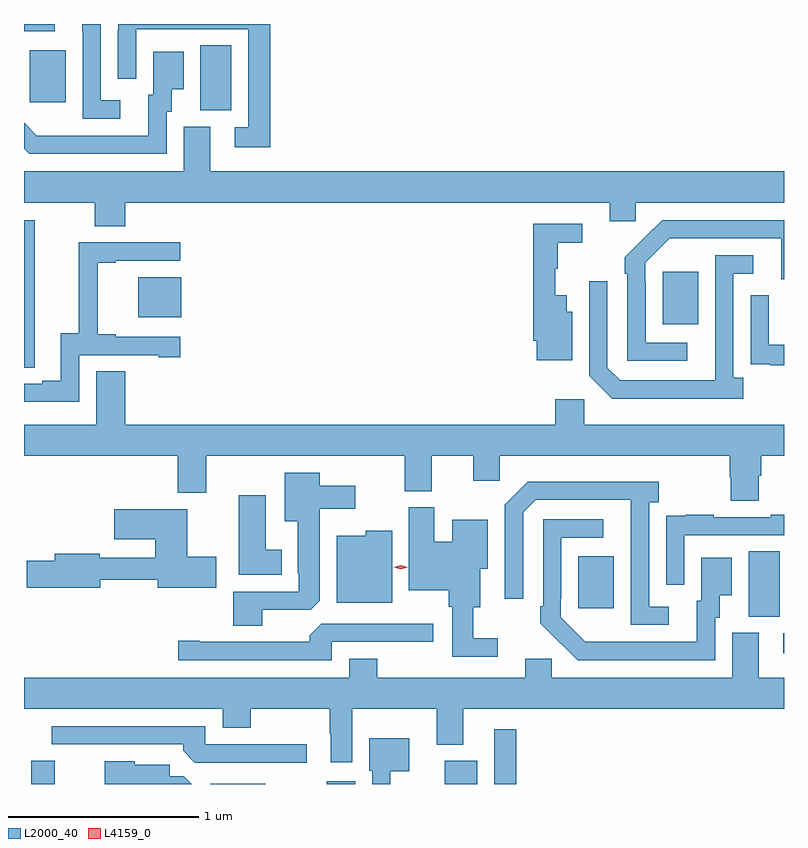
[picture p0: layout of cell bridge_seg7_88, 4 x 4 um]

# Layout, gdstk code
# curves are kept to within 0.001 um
import gdstk
lib = gdstk.Library(unit=1e-6, precision=1e-09)
def R(c, l, rs):  # rectangles x0, y0, x1, y1
    for r in rs: c.add(gdstk.rectangle(r[:2], r[2:], *l))
def P(c, l, *ps):  # polygons
    for p in ps: c.add(gdstk.Polygon(p, *l))
L2000_40 = (2000, 40)
L4159_0 = (4159, 0)

bridge_seg7_88 = lib.new_cell('bridge_seg7_88')
R(bridge_seg7_88, L2000_40, [(1065.125,1010.876,1065.25,1010.998), (1066.067,1010.876,1066.36,1010.878), (1066.682,1010.876,1066.831,1010.89), (1067.303,1010.876,1067.473,1010.998), (1067.562,1010.876,1067.678,1011.163), (1069.083,1011.564,1069.088,1011.669), (1068.902,1011.757,1069.066,1012.1), (1068.005,1011.801,1068.193,1012.075), (1068.449,1013.297,1068.637,1013.572), (1065.689,1013.333,1065.916,1013.542), (1066.016,1014.421,1066.18,1014.764), (1065.119,1014.465,1065.307,1014.739), (1065.088,1014.837,1065.25,1014.876)])
P(bridge_seg7_88, L2000_40, [(1066.385,1014.876),(1065.583,1014.876),(1065.583,1014.842),(1065.582,1014.842),(1065.582,1014.588),(1065.678,1014.588),(1065.678,1014.849),(1066.269,1014.849),(1066.269,1014.333),(1066.197,1014.333),(1066.197,1014.228),(1066.385,1014.228)],
  [(1065.595,1014.474),(1065.492,1014.474),(1065.492,1014.876),(1065.395,1014.876),(1065.395,1014.835),(1065.396,1014.835),(1065.396,1014.378),(1065.595,1014.378)],
  [(1065.84,1014.414),(1065.865,1014.414),(1065.865,1014.533),(1065.928,1014.533),(1065.928,1014.73),(1065.767,1014.73),(1065.767,1014.504),(1065.743,1014.504),(1065.743,1014.288),(1065.156,1014.289),(1065.088,1014.356),(1065.088,1014.22),(1065.116,1014.192),(1065.84,1014.192)],
  [(1065.62,1013.936),(1068.17,1013.936),(1068.17,1013.838),(1068.309,1013.838),(1068.309,1013.936),(1069.088,1013.936),(1069.088,1014.1),(1066.069,1014.1),(1066.069,1014.336),(1065.929,1014.336),(1065.929,1014.1),(1065.088,1014.1),(1065.088,1013.936),(1065.46,1013.936),(1065.46,1013.812),(1065.62,1013.812)],
  [(1065.144,1013.176),(1065.145,1013.176),(1065.145,1013.844),(1065.088,1013.844),(1065.088,1013.068),(1065.144,1013.068)],
  [(1068.58,1013.199),(1068.36,1013.199),(1068.36,1013.519),(1068.357,1013.519),(1068.357,1013.619),(1068.486,1013.748),(1069.073,1013.748),(1069.073,1013.532),(1069.088,1013.532),(1069.088,1013.844),(1068.446,1013.844),(1068.249,1013.649),(1068.249,1013.561),(1068.264,1013.561),(1068.264,1013.103),(1068.58,1013.103)],
  [(1067.974,1013.362),(1067.944,1013.362),(1067.944,1013.449),(1067.885,1013.449),(1067.885,1013.589),(1067.896,1013.589),(1067.896,1013.725),(1068.025,1013.725),(1068.025,1013.826),(1067.767,1013.826),(1067.767,1013.209),(1067.786,1013.209),(1067.786,1013.105),(1067.974,1013.105)],
  [(1065.378,1013.133),(1065.797,1013.133),(1065.797,1013.121),(1065.91,1013.121),(1065.91,1013.229),(1065.571,1013.229),(1065.571,1013.242),(1065.476,1013.242),(1065.476,1013.619),(1065.571,1013.619),(1065.571,1013.631),(1065.91,1013.631),(1065.91,1013.727),(1065.376,1013.727),(1065.376,1013.249),(1065.281,1013.249),(1065.281,1012.998),(1065.185,1012.998),(1065.185,1012.983),(1065.088,1012.983),(1065.088,1012.887),(1065.378,1012.887)],
  [(1068.874,1013.014),(1068.822,1013.014),(1068.822,1013.562),(1068.925,1013.562),(1068.925,1013.658),(1068.726,1013.658),(1068.725,1013.001),(1068.225,1013.001),(1068.159,1013.067),(1068.159,1013.521),(1068.063,1013.521),(1068.063,1013.025),(1068.184,1012.904),(1068.874,1012.904)],
  [(1069.088,1013.187),(1069.008,1013.187),(1069.008,1013.449),(1068.912,1013.449),(1068.912,1013.194),(1068.913,1013.194),(1068.913,1013.085),(1069.015,1013.085),(1069.015,1013.079),(1069.088,1013.079)],
  [(1068.955,1012.498),(1068.968,1012.498),(1068.968,1012.604),(1069.088,1012.604),(1069.088,1012.768),(1068.036,1012.768),(1068.036,1012.9),(1067.885,1012.9),(1067.885,1012.768),(1065.62,1012.768),(1065.62,1013.048),(1065.467,1013.048),(1065.467,1012.768),(1065.088,1012.768),(1065.088,1012.604),(1065.896,1012.604),(1065.896,1012.41),(1066.048,1012.41),(1066.048,1012.604),(1067.093,1012.604),(1067.093,1012.417),(1067.233,1012.417),(1067.233,1012.604),(1067.453,1012.604),(1067.453,1012.473),(1067.592,1012.473),(1067.592,1012.604),(1068.803,1012.604),(1068.803,1012.491),(1068.808,1012.491),(1068.808,1012.366),(1068.955,1012.366)],
  [(1066.342,1011.792),(1066.596,1011.792),(1066.645,1011.841),(1066.645,1012.325),(1066.831,1012.325),(1066.831,1012.447),(1066.645,1012.447),(1066.645,1012.513),(1066.46,1012.513),(1066.46,1012.259),(1066.529,1012.259),(1066.529,1011.985),(1066.533,1011.985),(1066.533,1011.888),(1066.19,1011.888),(1066.19,1011.709),(1066.342,1011.709)],
  [(1068.481,1011.81),(1068.378,1011.81),(1068.378,1012.358),(1068.43,1012.358),(1068.43,1012.468),(1067.74,1012.468),(1067.619,1012.347),(1067.619,1011.852),(1067.715,1011.852),(1067.715,1012.305),(1067.781,1012.371),(1068.281,1012.371),(1068.282,1011.714),(1068.481,1011.714)],
  [(1066.444,1012.108),(1066.36,1012.108),(1066.36,1012.396),(1066.217,1012.396),(1066.217,1011.977),(1066.444,1011.977)],
  [(1067.581,1011.643),(1067.452,1011.643),(1067.452,1011.806),(1067.488,1011.806),(1067.488,1012.01),(1067.53,1012.01),(1067.53,1012.267),(1067.342,1012.267),(1067.342,1012.15),(1067.248,1012.15),(1067.248,1012.332),(1067.114,1012.332),(1067.114,1011.896),(1067.323,1011.896),(1067.323,1011.81),(1067.343,1011.81),(1067.343,1011.546),(1067.581,1011.546)],
  [(1066.099,1012.071),(1065.946,1012.071),(1065.946,1012.321),(1065.564,1012.321),(1065.564,1012.163),(1065.779,1012.163),(1065.779,1012.068),(1065.486,1012.068),(1065.486,1012.088),(1065.251,1012.088),(1065.251,1012.052),(1065.102,1012.052),(1065.102,1011.91),(1065.49,1011.91),(1065.49,1011.952),(1065.791,1011.952),(1065.791,1011.908),(1066.099,1011.908)],
  [(1068.564,1012.185),(1069.088,1012.185),(1069.088,1012.294),(1069.019,1012.294),(1069.019,1012.281),(1068.719,1012.281),(1068.719,1012.294),(1068.571,1012.294),(1068.571,1012.287),(1068.469,1012.287),(1068.469,1012.178),(1068.468,1012.178),(1068.468,1011.924),(1068.564,1011.924)],
  [(1068.726,1011.75),(1068.751,1011.75),(1068.751,1011.869),(1068.814,1011.869),(1068.814,1012.066),(1068.653,1012.066),(1068.653,1011.84),(1068.629,1011.84),(1068.629,1011.624),(1068.042,1011.625),(1067.913,1011.753),(1067.913,1011.853),(1067.916,1011.853),(1067.916,1012.173),(1068.136,1012.173),(1068.136,1012.269),(1067.82,1012.269),(1067.82,1011.811),(1067.805,1011.811),(1067.805,1011.723),(1068.002,1011.528),(1068.726,1011.528)],
  [(1067.026,1012.21),(1066.887,1012.21),(1066.887,1012.183),(1066.733,1012.183),(1066.733,1011.83),(1067.026,1011.83)],
  [(1066.707,1011.624),(1067.242,1011.624),(1067.242,1011.72),(1066.653,1011.72),(1066.592,1011.658),(1066.592,1011.624),(1066.012,1011.624),(1066.012,1011.629),(1065.9,1011.629),(1065.9,1011.528),(1066.707,1011.528)],
  [(1066.816,1011.272),(1067.261,1011.272),(1067.261,1011.083),(1067.401,1011.083),(1067.401,1011.272),(1069.088,1011.272),(1069.088,1011.436),(1068.955,1011.436),(1068.955,1011.672),(1068.815,1011.672),(1068.815,1011.436),(1067.865,1011.436),(1067.865,1011.534),(1067.726,1011.534),(1067.726,1011.436),(1066.947,1011.436),(1066.947,1011.535),(1066.799,1011.535),(1066.799,1011.436),(1065.088,1011.436),(1065.088,1011.272),(1066.133,1011.272),(1066.133,1011.173),(1066.281,1011.173),(1066.281,1011.272),(1066.696,1011.272),(1066.696,1011.14),(1066.703,1011.14),(1066.703,1010.991),(1066.816,1010.991)],
  [(1066.576,1011.084),(1066.041,1011.084),(1066.041,1011.18),(1065.234,1011.18),(1065.234,1011.084),(1065.926,1011.084),(1065.926,1011.05),(1065.987,1010.988),(1066.576,1010.988)],
  [(1067.016,1010.942),(1067.116,1010.942),(1067.116,1011.118),(1066.904,1011.118),(1066.904,1010.946),(1066.92,1010.946),(1066.92,1010.876),(1067.016,1010.876)],
  [(1065.93,1010.916),(1065.856,1010.916),(1065.856,1010.977),(1065.672,1010.977),(1065.672,1010.995),(1065.512,1010.995),(1065.512,1010.876),(1065.97,1010.876)])
P(bridge_seg7_88, L4159_0, [(1067.071,1012.007),(1067.033,1012.016),(1067.033,1012.017),(1067.033,1012.017),(1067.071,1012.027),(1067.108,1012.017),(1067.108,1012.017),(1067.108,1012.016)])

lib.write_gds('bridge_seg7_88.gds')
